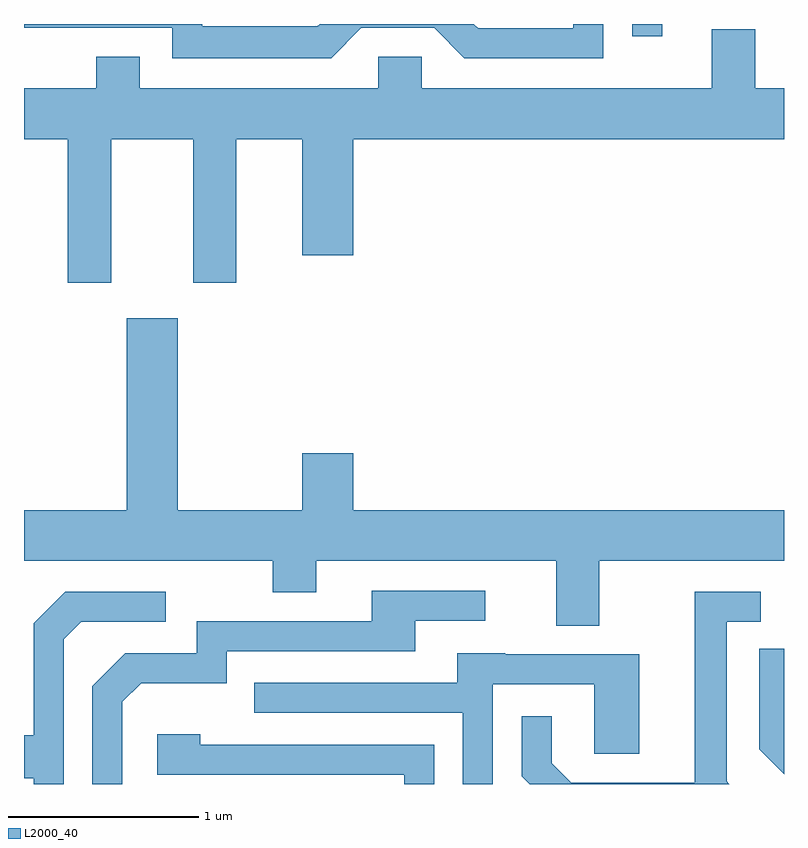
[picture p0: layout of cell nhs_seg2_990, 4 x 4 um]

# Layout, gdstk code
import gdstk
lib = gdstk.Library(unit=1e-6, precision=1e-09)
def R(c, l, rs):  # rectangles x0, y0, x1, y1
    for r in rs: c.add(gdstk.rectangle(r[:2], r[2:], *l))
def P(c, l, *ps):  # polygons
    for p in ps: c.add(gdstk.Polygon(p, *l))
L2000_40 = (2000, 40)

nhs_seg2_990 = lib.new_cell('nhs_seg2_990')
R(nhs_seg2_990, L2000_40, [(216.811,1057.738,216.969,1057.802)])
P(nhs_seg2_990, L2000_40, [(215.387,1057.781),(215.769,1057.781),(215.929,1057.621),(216.659,1057.621),(216.659,1057.802),(216.501,1057.802),(216.501,1057.779),(216.002,1057.779),(215.979,1057.802),(215.167,1057.802),(215.154,1057.789),(214.549,1057.789),(214.549,1057.802),(213.611,1057.802),(213.611,1057.781),(214.391,1057.781),(214.391,1057.621),(215.227,1057.621)],
  [(214.069,1057.196),(214.501,1057.196),(214.501,1056.441),(214.729,1056.441),(214.729,1057.196),(215.076,1057.196),(215.076,1056.586),(215.344,1056.586),(215.344,1057.196),(217.611,1057.196),(217.611,1057.464),(217.459,1057.464),(217.459,1057.774),(217.231,1057.774),(217.231,1057.464),(215.704,1057.464),(215.704,1057.629),(215.476,1057.629),(215.476,1057.464),(214.219,1057.464),(214.219,1057.629),(213.991,1057.629),(213.991,1057.464),(213.611,1057.464),(213.611,1057.196),(213.841,1057.196),(213.841,1056.441),(214.069,1056.441)],
  [(216.639,1054.976),(217.611,1054.976),(217.611,1055.244),(215.344,1055.244),(215.344,1055.544),(215.076,1055.544),(215.076,1055.244),(214.419,1055.244),(214.419,1056.254),(214.151,1056.254),(214.151,1055.244),(213.611,1055.244),(213.611,1054.976),(214.921,1054.976),(214.921,1054.811),(215.149,1054.811),(215.149,1054.976),(216.411,1054.976),(216.411,1054.636),(216.639,1054.636)],
  [(214.129,1054.234),(214.227,1054.331),(214.679,1054.331),(214.679,1054.501),(215.669,1054.501),(215.669,1054.661),(216.038,1054.661),(216.038,1054.819),(215.441,1054.819),(215.441,1054.659),(214.521,1054.659),(214.521,1054.489),(214.144,1054.489),(213.971,1054.317),(213.971,1053.802),(214.129,1053.802)],
  [(217.309,1053.817),(217.309,1054.656),(217.488,1054.656),(217.488,1054.814),(217.141,1054.814),(217.141,1053.809),(216.492,1053.809),(216.389,1053.912),(216.389,1054.158),(216.231,1054.158),(216.231,1053.844),(216.273,1053.802),(217.324,1053.802)],
  [(213.819,1054.564),(213.912,1054.656),(214.358,1054.656),(214.358,1054.814),(213.829,1054.814),(213.661,1054.647),(213.661,1054.059),(213.611,1054.059),(213.611,1053.831),(213.661,1053.831),(213.661,1053.802),(213.819,1053.802)],
  [(217.611,1054.513),(217.481,1054.513),(217.481,1053.984),(217.611,1053.854)],
  [(216.079,1054.326),(216.611,1054.326),(216.611,1053.961),(216.849,1053.961),(216.849,1054.484),(216.145,1054.484),(216.145,1054.489),(215.891,1054.489),(215.891,1054.334),(214.823,1054.334),(214.823,1054.176),(215.921,1054.176),(215.921,1053.802),(216.079,1053.802)],
  [(215.769,1054.009),(214.539,1054.009),(214.539,1054.064),(214.311,1054.064),(214.311,1053.851),(215.611,1053.851),(215.611,1053.802),(215.769,1053.802)])

lib.write_gds('nhs_seg2_990.gds')
